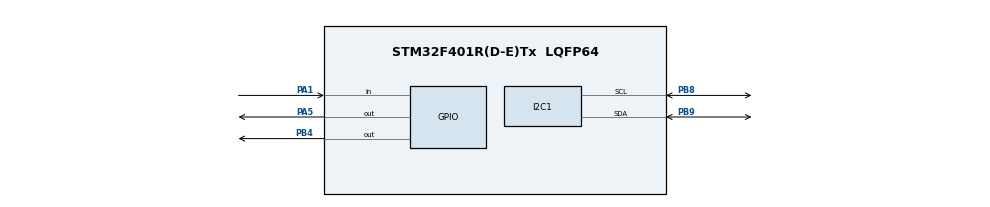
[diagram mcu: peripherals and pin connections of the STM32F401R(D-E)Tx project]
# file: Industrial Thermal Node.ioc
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I2C1.I2C_Mode=I2C_Fast
Mcu.Family=STM32F4
Mcu.Name=STM32F401R(D-E)Tx
Mcu.Package=LQFP64
NVIC.PriorityGroup=NVIC_PRIORITYGROUP_4
PA1.GPIO_PuPd=GPIO_PULLUP
PA1.Signal=GPIO_Input
PA5.Signal=GPIO_Output
PB4.GPIO_ModeDefaultOutputPP=GPIO_MODE_OUTPUT_OD
PB4.GPIO_PuPd=GPIO_NOPULL
PB4.GPIO_Speed=GPIO_SPEED_FREQ_VERY_HIGH
PB4.PinState=GPIO_PIN_SET
PB4.Signal=GPIO_Output
PB8.Mode=I2C
PB8.Signal=I2C1_SCL
PB9.Mode=I2C
PB9.Signal=I2C1_SDA
ProjectManager.HeapSize=0x200
ProjectManager.StackSize=0x400
ProjectManager.TargetToolchain=STM32CubeIDE
RCC.48MHZClocksFreq_Value=42000000
RCC.AHBFreq_Value=84000000
RCC.APB1CLKDivider=RCC_HCLK_DIV2
RCC.APB1Freq_Value=42000000
RCC.APB1TimFreq_Value=84000000
RCC.APB2Freq_Value=84000000
RCC.APB2TimFreq_Value=84000000
RCC.CortexFreq_Value=84000000
RCC.HCLKFreq_Value=84000000
RCC.HSE_VALUE=25000000
RCC.HSI_VALUE=16000000
RCC.LSE_VALUE=32768
RCC.PLLM=8
RCC.PLLN=84
RCC.SYSCLKFreq_VALUE=84000000
RCC.SYSCLKSource=RCC_SYSCLKSOURCE_PLLCLK
RCC.VCOOutputFreq_Value=168000000
board=custom

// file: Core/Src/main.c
/* USER CODE BEGIN Header */
/**
  ******************************************************************************
  * @file           : main.c
  * @brief          : Main program body
  ******************************************************************************
  * @attention
  *
  * Copyright (c) 2026 STMicroelectronics.
  * All rights reserved.
  *
  * This software is licensed under terms that can be found in the LICENSE file
  * in the root directory of this software component.
  * If no LICENSE file comes with this software, it is provided AS-IS.
  *
  ******************************************************************************
  */
/* USER CODE END Header */
#include "main.h"
#include "i2c.h"
#include "gpio.h"

/* USER CODE BEGIN Includes */
#include "ssd1306.h"
#include "ssd1306_fonts.h"
#include <stdio.h>
#include "ds18b20.h"

/* USER CODE END Includes */

void SystemClock_Config(void);

/* USER CODE BEGIN 0 */
/* USER CODE BEGIN 0 */

/* USER CODE END 0 */

void SystemClock_Config(void);

int main(void)
{

  /* MCU Configuration--------------------------------------------------------*/

  /* Reset of all peripherals, Initializes the Flash interface and the Systick. */
  HAL_Init();

  /* Configure the system clock */
  SystemClock_Config();

  /* Initialize all configured peripherals */
  MX_GPIO_Init();
  MX_I2C1_Init();
  /* USER CODE BEGIN 2 */
  ssd1306_Init();
  ssd1306_SetCursor(10, 20);
  ssd1306_WriteString("Phase 2 OK", Font_11x18, White);
  ssd1306_UpdateScreen();
  DWT_Init();
  /* USER CODE END 2 */

  /* Infinite loop */
  uint32_t last_reset_tick = 0;
	  const uint32_t reset_interval = 1000; // 1 second interval

	  while (1)
	  {
	    /* USER CODE END WHILE */

	    /* USER CODE BEGIN 3 */
	      // 1. Check the physical button continuously (instantly responsive)
	      if (HAL_GPIO_ReadPin(GPIOA, GPIO_PIN_1) == GPIO_PIN_RESET)
	      {
	          // Button pressed
	          HAL_GPIO_WritePin(GPIOA, GPIO_PIN_5, GPIO_PIN_SET); // LED ON
	          ssd1306_Fill(Black);
	          ssd1306_SetCursor(10, 20);
	          ssd1306_WriteString("BTN PRESSED!", Font_7x10, White);
	          ssd1306_UpdateScreen();
	      }
	      else
	      {
	          // Button released (Idle)
	          HAL_GPIO_WritePin(GPIOA, GPIO_PIN_5, GPIO_PIN_RESET); // LED OFF
	      }

	      // 2. Non-blocking timer check for live DS18B20 temperature
	      if ((HAL_GetTick() - last_reset_tick) >= 2000)
	      {
	          last_reset_tick = HAL_GetTick(); // Reset timer

	          // Kick off conversion and read directly
	          DS18B20_StartConversion();
	          delay_us(750000); // Wait 750ms for conversion

	          float temp_c = DS18B20_ReadTemperature();

	          // Split float into whole and fractional parts
	          int temp_whole = (int)temp_c;
	          int temp_fract = (int)((temp_c - temp_whole) * 100);
	          if (temp_fract < 0) temp_fract = -temp_fract;

	          // Format and display live temperature
	          char temp_str[32];
	          sprintf(temp_str, "Temp: %d.%02d C", temp_whole, temp_fract);

	          ssd1306_Fill(Black);
	          ssd1306_SetCursor(10, 10);
	          ssd1306_WriteString("Thermal Node", Font_7x10, White);
	          ssd1306_SetCursor(10, 30);
	          ssd1306_WriteString(temp_str, Font_7x10, White);
	          ssd1306_UpdateScreen();

	      // Small delay to prevent overwhelming the CPU and I2C bus
	          HAL_Delay(10);
	          /* USER CODE END 3 */
	      }           // <--- Closes the while (1) loop

	  }               // <--- Closes the main() function
}
	  /**
	    * @brief System Clock Configuration
	    */
	  void SystemClock_Config(void)
	  {
	      // ...

  RCC_OscInitTypeDef RCC_OscInitStruct = {0};
  RCC_ClkInitTypeDef RCC_ClkInitStruct = {0};

  /** Configure the main internal regulator output voltage
  */
  __HAL_RCC_PWR_CLK_ENABLE();
  __HAL_PWR_VOLTAGESCALING_CONFIG(PWR_REGULATOR_VOLTAGE_SCALE2);

  /** Initializes the RCC Oscillators according to the specified parameters
  * in the RCC_OscInitTypeDef structure.
  */
  RCC_OscInitStruct.OscillatorType = RCC_OSCILLATORTYPE_HSI;
  RCC_OscInitStruct.HSIState = RCC_HSI_ON;
  RCC_OscInitStruct.HSICalibrationValue = RCC_HSICALIBRATION_DEFAULT;
  RCC_OscInitStruct.PLL.PLLState = RCC_PLL_ON;
  RCC_OscInitStruct.PLL.PLLSource = RCC_PLLSOURCE_HSI;
  RCC_OscInitStruct.PLL.PLLM = 8;
  RCC_OscInitStruct.PLL.PLLN = 84;
  RCC_OscInitStruct.PLL.PLLP = RCC_PLLP_DIV2;
  RCC_OscInitStruct.PLL.PLLQ = 4;
  if (HAL_RCC_OscConfig(&RCC_OscInitStruct) != HAL_OK)
  {
    Error_Handler();
  }

  /** Initializes the CPU, AHB and APB buses clocks
  */
  RCC_ClkInitStruct.ClockType = RCC_CLOCKTYPE_HCLK|RCC_CLOCKTYPE_SYSCLK
                              |RCC_CLOCKTYPE_PCLK1|RCC_CLOCKTYPE_PCLK2;
  RCC_ClkInitStruct.SYSCLKSource = RCC_SYSCLKSOURCE_PLLCLK;
  RCC_ClkInitStruct.AHBCLKDivider = RCC_SYSCLK_DIV1;
  RCC_ClkInitStruct.APB1CLKDivider = RCC_HCLK_DIV2;
  RCC_ClkInitStruct.APB2CLKDivider = RCC_HCLK_DIV1;

  if (HAL_RCC_ClockConfig(&RCC_ClkInitStruct, FLASH_LATENCY_2) != HAL_OK)
  {
    Error_Handler();
  }
}

void Error_Handler(void)
{
  __disable_irq();
  while (1)
  {
  }
}
